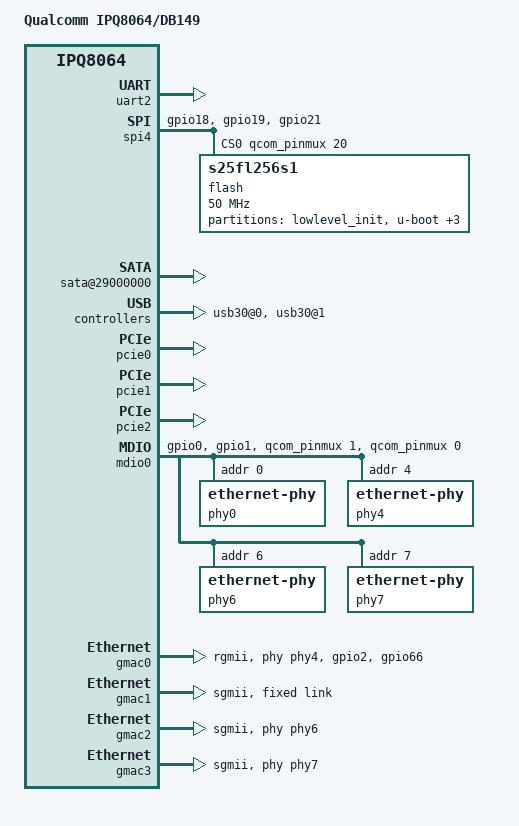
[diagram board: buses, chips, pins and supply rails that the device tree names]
#include "qcom-ipq8064-v1.0.dtsi"

/ {
	model = "Qualcomm IPQ8064/DB149";
	compatible = "qcom,ipq8064-db149", "qcom,ipq8064";

	reserved-memory {
		#address-cells = <1>;
		#size-cells = <1>;
		ranges;
		rsvd@41200000 {
			reg = <0x41200000 0x300000>;
			no-map;
		};
	};

	alias {
		serial0 = &uart2;
		mdio-gpio0 = &mdio0;
	};

	chosen {
		linux,stdout-path = "serial0:115200n8";
	};

	soc {
		pinmux@800000 {
			i2c4_pins: i2c4_pinmux {
				pins = "gpio12", "gpio13";
				function = "gsbi4";
				bias-disable;
			};

			spi_pins: spi_pins {
				mux {
					pins = "gpio18", "gpio19", "gpio21";
					function = "gsbi5";
					drive-strength = <10>;
					bias-none;
				};
			};

			mdio0_pins: mdio0_pins {
				mux {
					pins = "gpio0", "gpio1";
					function = "gpio";
					drive-strength = <8>;
					bias-disable;
				};
			};

			rgmii0_pins: rgmii0_pins {
				mux {
					pins = "gpio2", "gpio66";
					drive-strength = <8>;
					bias-disable;
				};
			};
		};

		gsbi2: gsbi@12480000 {
			qcom,mode = <GSBI_PROT_I2C_UART>;
			status = "ok";
			uart2: serial@12490000 {
				status = "ok";
			};
		};

		gsbi5: gsbi@1a200000 {
			qcom,mode = <GSBI_PROT_SPI>;
			status = "ok";

			spi4: spi@1a280000 {
				status = "ok";
				spi-max-frequency = <50000000>;

				pinctrl-0 = <&spi_pins>;
				pinctrl-names = "default";

				cs-gpios = <&qcom_pinmux 20 0>;

				flash: m25p80@0 {
					compatible = "s25fl256s1";
					#address-cells = <1>;
					#size-cells = <1>;
					spi-max-frequency = <50000000>;
					reg = <0>;
					m25p,fast-read;

					partition@0 {
						label = "lowlevel_init";
						reg = <0x0 0x1b0000>;
					};

					partition@1 {
						label = "u-boot";
						reg = <0x1b0000 0x80000>;
					};

					partition@2 {
						label = "u-boot-env";
						reg = <0x230000 0x40000>;
					};

					partition@3 {
						label = "caldata";
						reg = <0x270000 0x40000>;
					};

					partition@4 {
						label = "firmware";
						reg = <0x2b0000 0x1d50000>;
					};
				};
			};
		};

		sata-phy@1b400000 {
			status = "ok";
		};

		sata@29000000 {
			status = "ok";
		};

		phy@100f8800 {		/* USB3 port 1 HS phy */
			status = "ok";
		};

		phy@100f8830 {		/* USB3 port 1 SS phy */
			status = "ok";
		};

		phy@110f8800 {		/* USB3 port 0 HS phy */
			status = "ok";
		};

		phy@110f8830 {		/* USB3 port 0 SS phy */
			status = "ok";
		};

		usb30@0 {
			status = "ok";
		};

		usb30@1 {
			status = "ok";
		};

		pcie0: pci@1b500000 {
			status = "ok";
		};

		pcie1: pci@1b700000 {
			status = "ok";
		};

		pcie2: pci@1b900000 {
			status = "ok";
		};

		mdio0: mdio {
			compatible = "virtual,mdio-gpio";
			#address-cells = <1>;
			#size-cells = <0>;
			gpios = <&qcom_pinmux 1 0 &qcom_pinmux 0 0>;

			pinctrl-0 = <&mdio0_pins>;
			pinctrl-names = "default";

			phy0: ethernet-phy@0 {
				device_type = "ethernet-phy";
				reg = <0>;
				qca,ar8327-initvals = <
					0x00004 0x7600000   /* PAD0_MODE */
					0x00008 0x1000000   /* PAD5_MODE */
					0x0000c 0x80        /* PAD6_MODE */
					0x000e4 0x6a545     /* MAC_POWER_SEL */
					0x000e0 0xc74164de  /* SGMII_CTRL */
					0x0007c 0x4e        /* PORT0_STATUS */
					0x00094 0x4e        /* PORT6_STATUS */
				>;
			};

			phy4: ethernet-phy@4 {
				device_type = "ethernet-phy";
				reg = <4>;
			};

			phy6: ethernet-phy@6 {
				device_type = "ethernet-phy";
				reg = <6>;
			};

			phy7: ethernet-phy@7 {
				device_type = "ethernet-phy";
				reg = <7>;
			};
		};

		gmac0: ethernet@37000000 {
			status = "ok";
			phy-mode = "rgmii";
			qcom,id = <0>;
			phy-handle = <&phy4>;

			pinctrl-0 = <&rgmii0_pins>;
			pinctrl-names = "default";
		};

		gmac1: ethernet@37200000 {
			status = "ok";
			phy-mode = "sgmii";
			qcom,id = <1>;

			fixed-link {
				speed = <1000>;
				full-duplex;
			};
		};

		gmac2: ethernet@37400000 {
			status = "ok";
			phy-mode = "sgmii";
			qcom,id = <2>;
			phy-handle = <&phy6>;
		};

		gmac3: ethernet@37600000 {
			status = "ok";
			phy-mode = "sgmii";
			qcom,id = <3>;
			phy-handle = <&phy7>;
		};
	};
};
